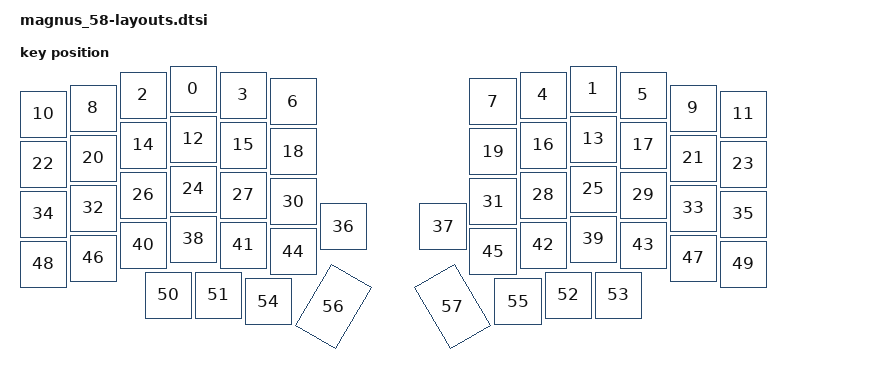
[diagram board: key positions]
#include <physical_layouts.dtsi>

/ {
    physical_layout0: physical_layout_0 {
        compatible = "zmk,physical-layout";
        display-name = "Magnus 58";

        kscan = <&kscan0>;
        transform = <&default_transform>;

        keys  //                     w   h    x    y     rot    rx    ry
        = <&key_physical_attrs 100 100  300    0       0     0     0>
        , <&key_physical_attrs 100 100 1100    0       0     0     0>
        , <&key_physical_attrs 100 100  200   12       0     0     0>
        , <&key_physical_attrs 100 100  400   12       0     0     0>
        , <&key_physical_attrs 100 100 1000   12       0     0     0>
        , <&key_physical_attrs 100 100 1200   12       0     0     0>
        , <&key_physical_attrs 100 100  500   25       0     0     0>
        , <&key_physical_attrs 100 100  900   25       0     0     0>
        , <&key_physical_attrs 100 100  100   38       0     0     0>
        , <&key_physical_attrs 100 100 1300   38       0     0     0>
        , <&key_physical_attrs 100 100    0   50       0     0     0>
        , <&key_physical_attrs 100 100 1400   50       0     0     0>
        , <&key_physical_attrs 100 100  300  100       0     0     0>
        , <&key_physical_attrs 100 100 1100  100       0     0     0>
        , <&key_physical_attrs 100 100  200  112       0     0     0>
        , <&key_physical_attrs 100 100  400  112       0     0     0>
        , <&key_physical_attrs 100 100 1000  112       0     0     0>
        , <&key_physical_attrs 100 100 1200  112       0     0     0>
        , <&key_physical_attrs 100 100  500  125       0     0     0>
        , <&key_physical_attrs 100 100  900  125       0     0     0>
        , <&key_physical_attrs 100 100  100  138       0     0     0>
        , <&key_physical_attrs 100 100 1300  138       0     0     0>
        , <&key_physical_attrs 100 100    0  150       0     0     0>
        , <&key_physical_attrs 100 100 1400  150       0     0     0>
        , <&key_physical_attrs 100 100  300  200       0     0     0>
        , <&key_physical_attrs 100 100 1100  200       0     0     0>
        , <&key_physical_attrs 100 100  200  212       0     0     0>
        , <&key_physical_attrs 100 100  400  212       0     0     0>
        , <&key_physical_attrs 100 100 1000  212       0     0     0>
        , <&key_physical_attrs 100 100 1200  212       0     0     0>
        , <&key_physical_attrs 100 100  500  225       0     0     0>
        , <&key_physical_attrs 100 100  900  225       0     0     0>
        , <&key_physical_attrs 100 100  100  238       0     0     0>
        , <&key_physical_attrs 100 100 1300  238       0     0     0>
        , <&key_physical_attrs 100 100    0  250       0     0     0>
        , <&key_physical_attrs 100 100 1400  250       0     0     0>
        , <&key_physical_attrs 100 100  600  275       0     0     0>
        , <&key_physical_attrs 100 100  800  275       0     0     0>
        , <&key_physical_attrs 100 100  300  300       0     0     0>
        , <&key_physical_attrs 100 100 1100  300       0     0     0>
        , <&key_physical_attrs 100 100  200  312       0     0     0>
        , <&key_physical_attrs 100 100  400  312       0     0     0>
        , <&key_physical_attrs 100 100 1000  312       0     0     0>
        , <&key_physical_attrs 100 100 1200  312       0     0     0>
        , <&key_physical_attrs 100 100  500  325       0     0     0>
        , <&key_physical_attrs 100 100  900  325       0     0     0>
        , <&key_physical_attrs 100 100  100  338       0     0     0>
        , <&key_physical_attrs 100 100 1300  338       0     0     0>
        , <&key_physical_attrs 100 100    0  350       0     0     0>
        , <&key_physical_attrs 100 100 1400  350       0     0     0>
        , <&key_physical_attrs 100 100  250  412       0     0     0>
        , <&key_physical_attrs 100 100  350  412       0     0     0>
        , <&key_physical_attrs 100 100 1050  412       0     0     0>
        , <&key_physical_attrs 100 100 1150  412       0     0     0>
        , <&key_physical_attrs 100 100  450  425       0     0     0>
        , <&key_physical_attrs 100 100  950  425       0     0     0>
        , <&key_physical_attrs 100 150  550  375    3000   550   525>
        , <&key_physical_attrs 100 150  850  375 (-3000)   950   525>
        ;
    };
};
